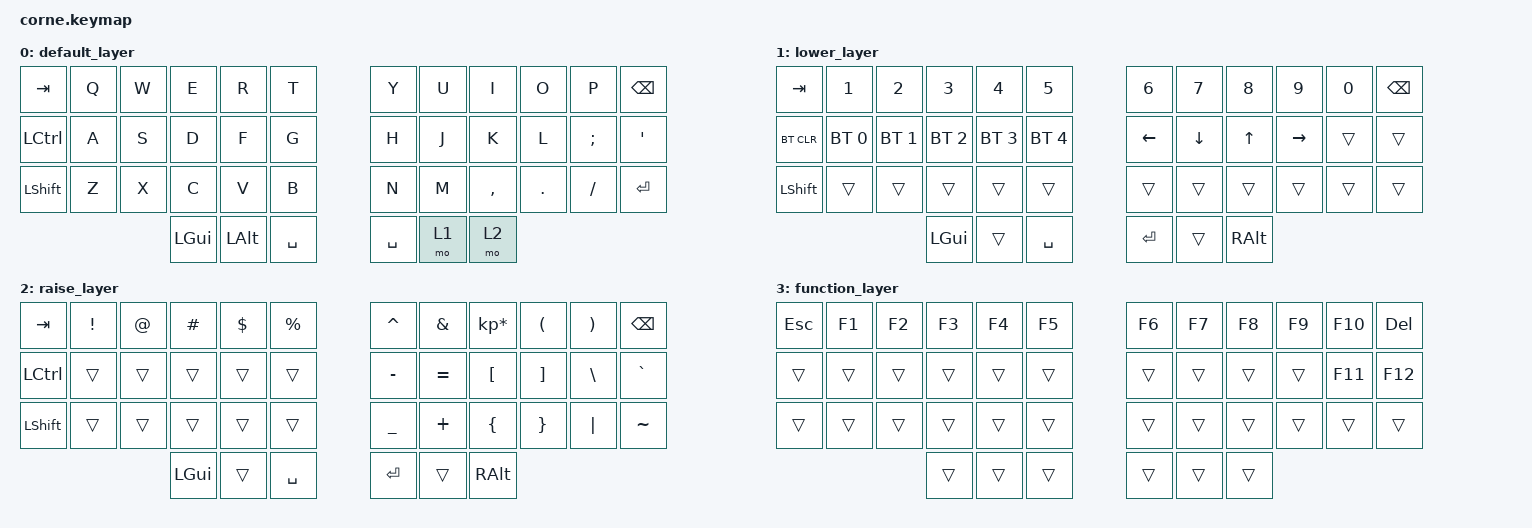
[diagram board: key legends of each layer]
/*
 * Copyright (c) 2020 The ZMK Contributors
 *
 * SPDX-License-Identifier: MIT
 */

#include <behaviors.dtsi>
#include <dt-bindings/zmk/bt.h>
#include <dt-bindings/zmk/keys.h>

/ {
    keymap {
        compatible = "zmk,keymap";

        default_layer {
             bindings = <
&kp TAB    &kp Q  &kp W  &kp E     &kp R         &kp T        &kp Y      &kp U  &kp I      &kp O    &kp P     &kp BSPC
&kp LCTRL  &kp A  &kp S  &kp D     &kp F         &kp G        &kp H      &kp J  &kp K      &kp L    &kp SEMI  &kp SQT
&kp LSHFT  &kp Z  &kp X  &kp C     &kp V         &kp B        &kp N      &kp M  &kp COMMA  &kp DOT  &kp FSLH  &kp RETURN
                         &kp LGUI  &kp LEFT_ALT  &kp SPACE    &kp SPACE  &mo 1  &mo 2
            >;
        };

        lower_layer {
            bindings = <
&kp TAB     &kp N1        &kp N2        &kp N3        &kp N4        &kp N5          &kp N6    &kp N7    &kp N8    &kp N9     &kp N0  &kp BSPC
&bt BT_CLR  &bt BT_SEL 0  &bt BT_SEL 1  &bt BT_SEL 2  &bt BT_SEL 3  &bt BT_SEL 4    &kp LEFT  &kp DOWN  &kp UP    &kp RIGHT  &trans  &trans
&kp LSHFT   &trans        &trans        &trans        &trans        &trans          &trans    &trans    &trans    &trans     &trans  &trans
                         &kp LGUI      &trans        &kp SPACE       &kp RET   &trans    &kp RALT
            >;
        };

        raise_layer {
            bindings = <
&kp TAB    &kp EXCL  &kp AT  &kp HASH  &kp DLLR  &kp PRCNT    &kp CARET  &kp AMPS   &kp KP_MULTIPLY  &kp LPAR  &kp RPAR  &kp BSPC
&kp LCTRL  &trans    &trans  &trans    &trans    &trans       &kp MINUS  &kp EQUAL  &kp LBKT         &kp RBKT  &kp BSLH  &kp GRAVE
&kp LSHFT  &trans    &trans  &trans    &trans    &trans       &kp UNDER  &kp PLUS   &kp LBRC         &kp RBRC  &kp PIPE  &kp TILDE
                         &kp LGUI  &trans    &kp SPACE    &kp RET    &trans     &kp RALT
            >;
        };

        function_layer {
            bindings = <
&kp ESCAPE  &kp F1  &kp F2  &kp F3  &kp F4  &kp F5    &kp F6  &kp F7  &kp F8  &kp F9  &kp F10  &kp DELETE
&trans      &trans  &trans  &trans  &trans  &trans    &trans  &trans  &trans  &trans  &kp F11  &kp F12
&trans      &trans  &trans  &trans  &trans  &trans    &trans  &trans  &trans  &trans  &trans   &trans
                         &trans  &trans  &trans    &trans  &trans  &trans
            >;
        };
    };

    conditional_layers {
        compatible = "zmk,conditional-layers";

        Function {
            if-layers = <1 2>;
            then-layer = <3>;
        };
    };
};
